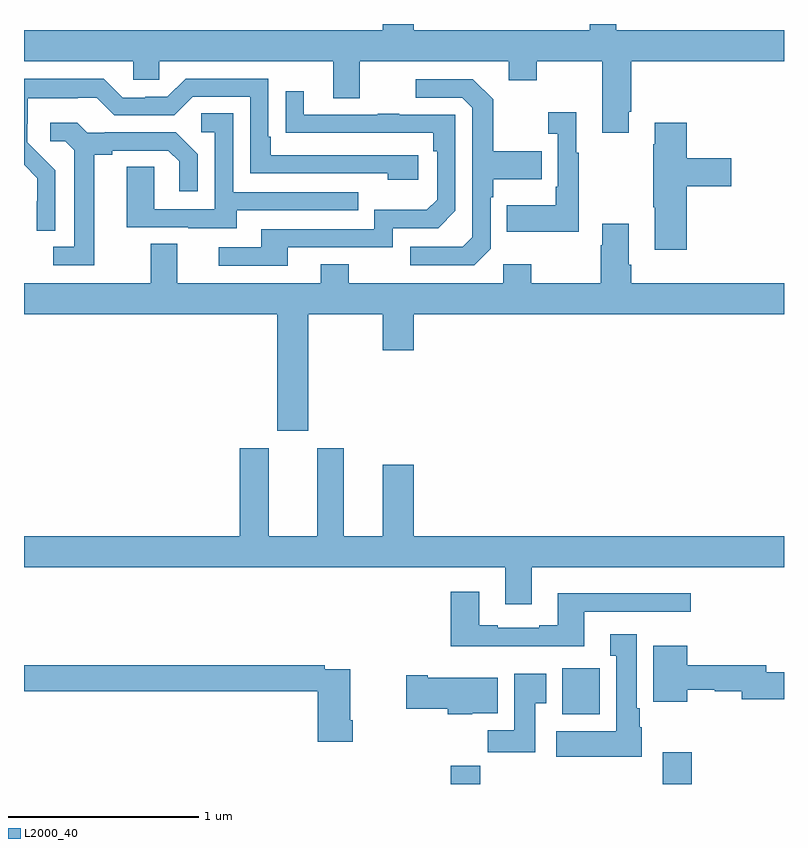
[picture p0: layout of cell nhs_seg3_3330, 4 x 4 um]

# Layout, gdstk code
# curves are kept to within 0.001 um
import gdstk
lib = gdstk.Library(unit=1e-6, precision=1e-09)
def R(c, l, rs):  # rectangles x0, y0, x1, y1
    for r in rs: c.add(gdstk.rectangle(r[:2], r[2:], *l))
def P(c, l, *ps):  # polygons
    for p in ps: c.add(gdstk.Polygon(p, *l))
L2000_40 = (2000, 40)

nhs_seg3_3330 = lib.new_cell('nhs_seg3_3330')
R(nhs_seg3_3330, L2000_40, [(285.245,742.4,285.401,742.496), (286.361,742.4,286.514,742.567), (285.833,742.766,286.03,743.008)])
P(nhs_seg3_3330, L2000_40, [(286.183,745.939),(286.196,745.939),(286.196,746.204),(287,746.204),(287,746.368),(286.117,746.368),(286.117,746.4),(285.977,746.4),(285.977,746.368),(285.052,746.368),(285.052,746.4),(284.888,746.4),(284.888,746.368),(283,746.368),(283,746.204),(283.575,746.204),(283.575,746.106),(283.713,746.106),(283.713,746.204),(284.627,746.204),(284.627,746.01),(284.767,746.01),(284.767,746.204),(285.551,746.204),(285.551,746.105),(285.699,746.105),(285.699,746.204),(286.043,746.204),(286.043,745.827),(286.183,745.827)],
  [(283.164,745.63),(283.018,745.778),(283.018,745.875),(283.02,745.875),(283.02,746.009),(283.283,746.009),(283.283,746.013),(283.383,746.013),(283.476,745.92),(283.791,745.92),(283.887,746.016),(284.19,746.016),(284.19,745.614),(284.915,745.614),(284.915,745.58),(285.076,745.58),(285.076,745.71),(284.299,745.71),(284.299,745.807),(284.286,745.807),(284.286,746.112),(283.851,746.112),(283.755,746.016),(283.637,746.016),(283.637,746.013),(283.521,746.013),(283.421,746.113),(283,746.113),(283,745.658),(283.07,745.589),(283.07,745.466),(283.068,745.466),(283.068,745.312),(283.164,745.312)],
  [(285.456,745.218),(285.456,745.487),(285.469,745.487),(285.469,745.583),(285.725,745.583),(285.725,745.731),(285.469,745.731),(285.469,746.003),(285.363,746.109),(285.063,746.109),(285.063,746.013),(285.306,746.013),(285.36,745.959),(285.36,745.278),(285.309,745.227),(285.033,745.227),(285.033,745.131),(285.369,745.131)],
  [(284.389,745.224),(284.94,745.224),(284.94,745.326),(285.18,745.326),(285.27,745.416),(285.27,745.923),(284.975,745.923),(284.975,745.928),(284.863,745.928),(284.863,745.923),(284.473,745.923),(284.473,746.047),(284.377,746.047),(284.377,745.828),(285.154,745.827),(285.154,745.73),(285.174,745.73),(285.174,745.476),(285.121,745.423),(284.844,745.423),(284.844,745.32),(284.249,745.32),(284.249,745.224),(284.025,745.224),(284.025,745.128),(284.389,745.128)],
  [(285.919,745.723),(285.907,745.723),(285.907,745.936),(285.759,745.936),(285.759,745.823),(285.81,745.823),(285.81,745.543),(285.798,745.543),(285.798,745.447),(285.541,745.447),(285.541,745.307),(285.919,745.307)],
  [(284.119,745.419),(284.759,745.419),(284.759,745.515),(284.1,745.515),(284.1,745.931),(283.932,745.931),(283.932,745.83),(284.004,745.83),(284.004,745.425),(283.686,745.425),(283.686,745.649),(283.541,745.649),(283.541,745.329),(283.865,745.329),(283.865,745.325),(284.119,745.325)],
  [(286.487,745.547),(286.723,745.547),(286.723,745.694),(286.487,745.694),(286.487,745.879),(286.319,745.879),(286.319,745.766),(286.312,745.766),(286.312,745.435),(286.319,745.435),(286.319,745.212),(286.487,745.212)],
  [(283.369,745.712),(283.465,745.712),(283.465,745.734),(283.76,745.734),(283.817,745.677),(283.817,745.521),(283.914,745.521),(283.914,745.714),(283.798,745.83),(283.426,745.83),(283.426,745.827),(283.332,745.827),(283.28,745.879),(283.137,745.879),(283.137,745.782),(283.218,745.782),(283.265,745.735),(283.265,745.227),(283.155,745.227),(283.155,745.131),(283.369,745.131)],
  [(284.497,744.872),(284.888,744.872),(284.888,744.684),(285.052,744.684),(285.052,744.872),(287,744.872),(287,745.036),(286.196,745.036),(286.196,745.132),(286.183,745.132),(286.183,745.348),(286.043,745.348),(286.043,745.235),(286.036,745.235),(286.036,745.036),(285.669,745.036),(285.669,745.135),(285.522,745.135),(285.522,745.036),(284.709,745.036),(284.709,745.135),(284.561,745.135),(284.561,745.036),(283.807,745.036),(283.807,745.244),(283.667,745.244),(283.667,745.036),(283,745.036),(283,744.872),(284.333,744.872),(284.333,744.258),(284.497,744.258)],
  [(285.673,743.54),(287,743.54),(287,743.704),(285.052,743.704),(285.052,744.079),(284.888,744.079),(284.888,743.704),(284.683,743.704),(284.683,744.166),(284.543,744.166),(284.543,743.704),(284.287,743.704),(284.287,744.166),(284.135,744.166),(284.135,743.704),(283,743.704),(283,743.54),(285.533,743.54),(285.533,743.346),(285.673,743.346)],
  [(285.949,743.307),(286.51,743.307),(286.51,743.404),(285.809,743.404),(285.809,743.236),(285.713,743.236),(285.713,743.223),(285.493,743.223),(285.493,743.236),(285.397,743.236),(285.397,743.413),(285.245,743.413),(285.245,743.126),(285.949,743.126)],
  [(286.252,742.698),(286.24,742.698),(286.24,742.798),(286.225,742.798),(286.225,743.188),(286.085,743.188),(286.085,743.075),(286.118,743.075),(286.118,742.678),(285.801,742.678),(285.801,742.544),(286.252,742.544)],
  [(286.492,742.896),(286.635,742.896),(286.635,742.888),(286.778,742.888),(286.778,742.846),(287,742.846),(287,742.988),(286.906,742.988),(286.906,743.024),(286.492,743.024),(286.492,743.128),(286.313,743.128),(286.313,742.832),(286.492,742.832)],
  [(284.729,742.735),(284.716,742.735),(284.716,743.004),(284.582,743.004),(284.582,743.024),(283,743.024),(283,742.888),(284.546,742.888),(284.546,742.623),(284.729,742.623)],
  [(285.691,742.825),(285.748,742.825),(285.748,742.981),(285.581,742.981),(285.581,742.684),(285.442,742.684),(285.442,742.566),(285.691,742.566)],
  [(285.36,742.772),(285.493,742.772),(285.493,742.96),(285.124,742.96),(285.124,742.973),(285.012,742.973),(285.012,742.795),(285.23,742.795),(285.23,742.766),(285.36,742.766)])

lib.write_gds('nhs_seg3_3330.gds')
